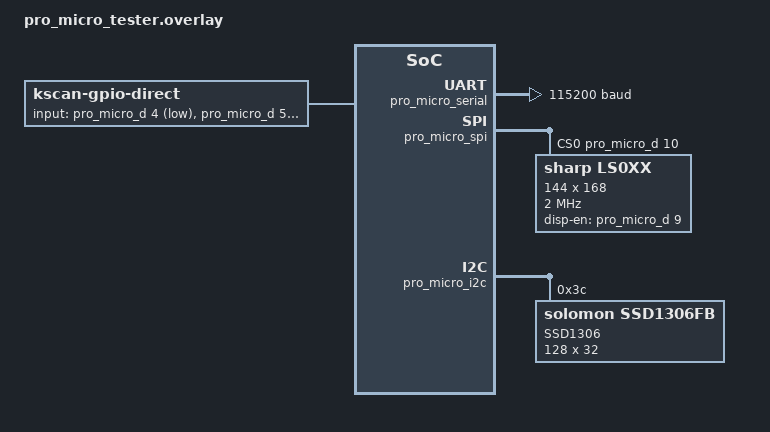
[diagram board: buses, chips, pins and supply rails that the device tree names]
/*
 * Copyright (c) 2020 Pete Johanson, Richard Jones
 *
 * SPDX-License-Identifier: MIT
 */

#include <dt-bindings/zmk/matrix_transform.h>

/ {
	chosen {
		zmk,kscan = &kscan0;
		zephyr,console = &pro_micro_serial;
	};

	kscan0: kscan {
		compatible = "zmk,kscan-gpio-direct";
		label = "KSCAN";

		input-gpios
			= <&pro_micro_d 4 (GPIO_ACTIVE_LOW | GPIO_PULL_UP)>
			, <&pro_micro_d 5 (GPIO_ACTIVE_LOW | GPIO_PULL_UP)>
			;
	};
};

&pro_micro_serial {
	status = "okay";
	current-speed = <115200>;
};

&pro_micro_spi {
	status = "okay";
	cs-gpios = <&pro_micro_d 10 GPIO_ACTIVE_HIGH>;

	ls0xx@0 {
		compatible = "sharp,ls0xx";
		label = "LS0XX";
		spi-max-frequency = <2000000>;
		reg = <0>;
		width = <144>;
		height = <168>;
		disp-en-gpios = <&pro_micro_d 9 GPIO_ACTIVE_HIGH>;
	};
};

&pro_micro_i2c {
	status = "okay";

	oled: ssd1306@3c {
		compatible = "solomon,ssd1306fb";
		reg = <0x3c>;
		label = "SSD1306";
		width = <128>;
		height = <32>;
		segment-offset = <0>;
		page-offset = <0>;
		display-offset = <0>;
		multiplex-ratio = <31>;
		com-invdir;
		segment-remap;
		com-sequential;
		prechargep = <0x22>;
	};
};
